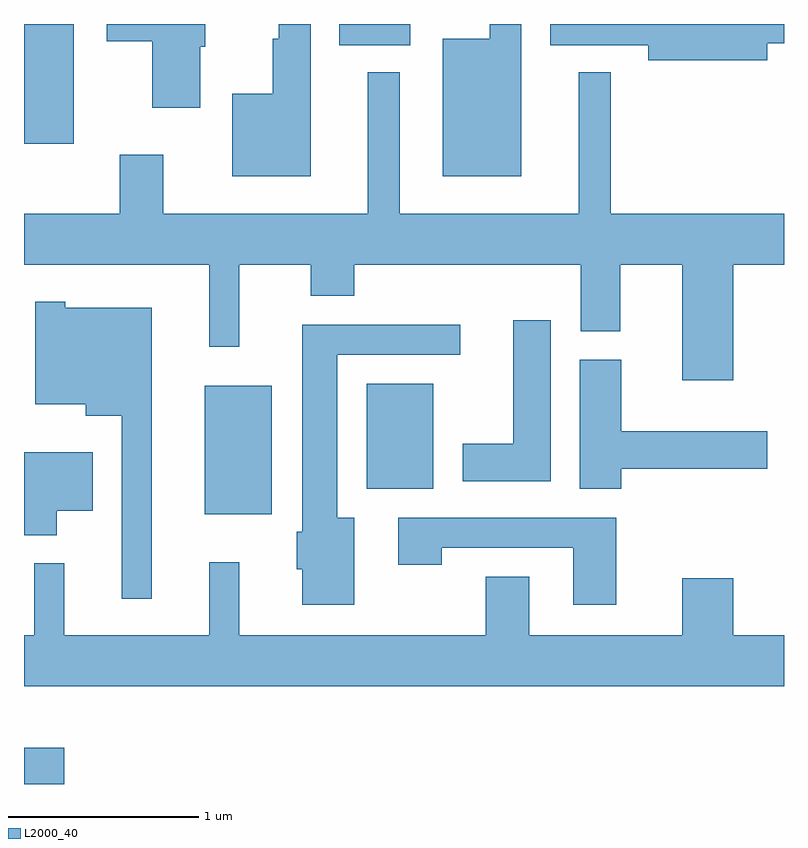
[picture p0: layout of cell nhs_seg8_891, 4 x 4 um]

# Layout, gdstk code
import gdstk
lib = gdstk.Library(unit=1e-6, precision=1e-09)
def R(c, l, rs):  # rectangles x0, y0, x1, y1
    for r in rs: c.add(gdstk.rectangle(r[:2], r[2:], *l))
def P(c, l, *ps):  # polygons
    for p in ps: c.add(gdstk.Polygon(p, *l))
L2000_40 = (2000, 40)

nhs_seg8_891 = lib.new_cell('nhs_seg8_891')
R(nhs_seg8_891, L2000_40, [(211.611,1840.342,211.824,1840.534), (212.561,1841.761,212.914,1842.439), (213.416,1841.896,213.764,1842.449), (211.611,1843.711,211.874,1844.342), (213.271,1844.231,213.644,1844.342)])
P(nhs_seg8_891, L2000_40, [(213.119,1844.342),(212.951,1844.342),(212.951,1844.264),(212.921,1844.264),(212.921,1843.974),(212.706,1843.974),(212.706,1843.541),(213.119,1843.541)],
  [(214.229,1844.342),(214.061,1844.342),(214.061,1844.264),(213.816,1844.264),(213.816,1843.541),(214.229,1843.541)],
  [(215.524,1844.241),(215.611,1844.241),(215.611,1844.342),(214.381,1844.342),(214.381,1844.231),(214.896,1844.231),(214.896,1844.151),(215.524,1844.151)],
  [(212.539,1844.221),(212.564,1844.221),(212.564,1844.342),(212.046,1844.342),(212.046,1844.251),(212.286,1844.251),(212.286,1843.901),(212.539,1843.901)],
  [(215.344,1843.076),(215.611,1843.076),(215.611,1843.344),(214.699,1843.344),(214.699,1844.088),(214.531,1844.088),(214.531,1843.344),(213.589,1843.344),(213.589,1844.088),(213.421,1844.088),(213.421,1843.344),(212.344,1843.344),(212.344,1843.654),(212.116,1843.654),(212.116,1843.344),(211.611,1843.344),(211.611,1843.076),(212.586,1843.076),(212.586,1842.643),(212.744,1842.643),(212.744,1843.076),(213.121,1843.076),(213.121,1842.911),(213.349,1842.911),(213.349,1843.076),(214.541,1843.076),(214.541,1842.726),(214.749,1842.726),(214.749,1843.076),(215.076,1843.076),(215.076,1842.466),(215.344,1842.466)],
  [(212.284,1842.849),(211.829,1842.849),(211.829,1842.879),(211.671,1842.879),(211.671,1842.341),(211.936,1842.341),(211.936,1842.281),(212.126,1842.281),(212.126,1841.318),(212.284,1841.318)],
  [(214.384,1842.784),(214.186,1842.784),(214.186,1842.134),(213.921,1842.134),(213.921,1841.936),(214.384,1841.936)],
  [(213.349,1841.744),(213.259,1841.744),(213.259,1842.601),(213.908,1842.601),(213.908,1842.759),(213.076,1842.759),(213.076,1841.669),(213.046,1841.669),(213.046,1841.471),(213.076,1841.471),(213.076,1841.286),(213.349,1841.286)],
  [(214.754,1842.001),(215.524,1842.001),(215.524,1842.199),(214.754,1842.199),(214.754,1842.574),(214.536,1842.574),(214.536,1841.896),(214.754,1841.896)],
  [(211.784,1841.781),(211.974,1841.781),(211.974,1842.089),(211.611,1842.089),(211.611,1841.651),(211.784,1841.651)],
  [(214.729,1841.744),(213.581,1841.744),(213.581,1841.496),(213.809,1841.496),(213.809,1841.586),(214.501,1841.586),(214.501,1841.286),(214.729,1841.286)],
  [(215.611,1841.124),(215.344,1841.124),(215.344,1841.424),(215.076,1841.424),(215.076,1841.124),(214.269,1841.124),(214.269,1841.434),(214.041,1841.434),(214.041,1841.124),(212.744,1841.124),(212.744,1841.508),(212.586,1841.508),(212.586,1841.124),(211.824,1841.124),(211.824,1841.503),(211.666,1841.503),(211.666,1841.124),(211.611,1841.124),(211.611,1840.856),(215.611,1840.856)])

lib.write_gds('nhs_seg8_891.gds')
